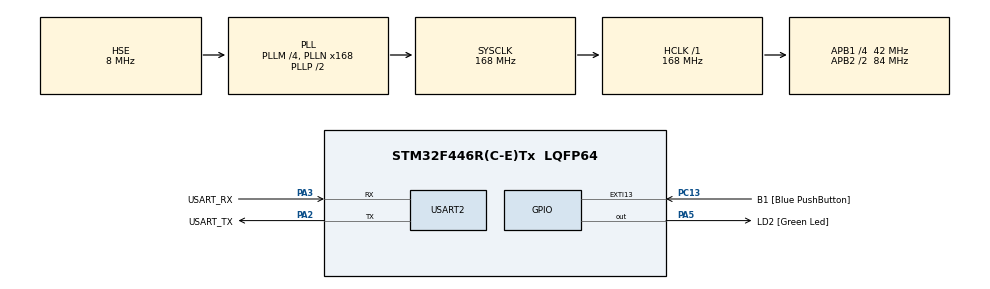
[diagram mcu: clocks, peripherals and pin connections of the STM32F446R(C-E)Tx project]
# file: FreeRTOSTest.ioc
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FREERTOS.Queues01=uartRxQueue,128,uint8_t,0,Dynamic,NULL,NULL
FREERTOS.Tasks01=defaultTask,0,128,StartDefaultTask,Default,NULL,Dynamic,NULL,NULL;ledTask,1,128,StartLedTask,Default,NULL,Dynamic,NULL,NULL
Mcu.Family=STM32F4
Mcu.Name=STM32F446R(C-E)Tx
Mcu.Package=LQFP64
NVIC.PriorityGroup=NVIC_PRIORITYGROUP_4
NVIC.TIM8_TRG_COM_TIM14_IRQn=true\:0\:0\:false\:false\:true\:false\:false
NVIC.TimeBase=TIM8_TRG_COM_TIM14_IRQn
NVIC.TimeBaseIP=TIM14
NVIC.USART2_IRQn=true\:5\:0\:false\:false\:true\:true\:true
PA13.GPIO_Label=TMS
PA13.Mode=Serial_Wire
PA13.Signal=SYS_JTMS-SWDIO
PA14.GPIO_Label=TCK
PA14.Mode=Serial_Wire
PA14.Signal=SYS_JTCK-SWCLK
PA2.GPIO_Label=USART_TX
PA2.Mode=Asynchronous
PA2.Signal=USART2_TX
PA3.GPIO_Label=USART_RX
PA3.Mode=Asynchronous
PA3.Signal=USART2_RX
PA5.GPIO_Label=LD2 [Green Led]
PA5.Signal=GPIO_Output
PB3.GPIO_Label=SWO
PB3.Signal=SYS_JTDO-SWO
PC13.GPIO_Label=B1 [Blue PushButton]
PC13.GPIO_ModeDefaultEXTI=GPIO_MODE_IT_FALLING
PC13.Signal=GPXTI13
PC14-OSC32_IN.Mode=LSE-External-Oscillator
PC14-OSC32_IN.Signal=RCC_OSC32_IN
PC15-OSC32_OUT.Mode=LSE-External-Oscillator
PC15-OSC32_OUT.Signal=RCC_OSC32_OUT
PH0-OSC_IN.Mode=HSE-External-Oscillator
PH0-OSC_IN.Signal=RCC_OSC_IN
PH1-OSC_OUT.Mode=HSE-External-Oscillator
PH1-OSC_OUT.Signal=RCC_OSC_OUT
ProjectManager.HeapSize=0x200
ProjectManager.StackSize=0x400
ProjectManager.TargetToolchain=MDK-ARM V5
RCC.48MHZClocksFreq_Value=84000000
RCC.AHBFreq_Value=168000000
RCC.APB1CLKDivider=RCC_HCLK_DIV4
RCC.APB1Freq_Value=42000000
RCC.APB1TimFreq_Value=84000000
RCC.APB2CLKDivider=RCC_HCLK_DIV2
RCC.APB2Freq_Value=84000000
RCC.APB2TimFreq_Value=168000000
RCC.CortexFreq_Value=168000000
RCC.FLatency-AdvancedSettings=FLASH_LATENCY_5
RCC.HCLKFreq_Value=168000000
RCC.HSE_VALUE=8000000
RCC.HSI_VALUE=16000000
RCC.PLLM=4
RCC.PLLN=168
RCC.PLLQ=3
RCC.PLLSourceVirtual=RCC_PLLSOURCE_HSE
RCC.SYSCLKFreq_VALUE=168000000
RCC.SYSCLKSource=RCC_SYSCLKSOURCE_PLLCLK
RCC.USBFreq_Value=112000000
RCC.VCOOutputFreq_Value=336000000
USART2.VirtualMode=VM_ASYNC
VP_FREERTOS_VS_ENABLE.Mode=Enabled
VP_SYS_VS_tim14.Mode=TIM14
board=NUCLEO-F446RE

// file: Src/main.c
/**
  ******************************************************************************
  * @file           : main.c
  * @brief          : Main program body
  ******************************************************************************
  * This notice applies to any and all portions of this file
  * that are not between comment pairs USER CODE BEGIN and
  * USER CODE END. Other portions of this file, whether
  * inserted by the user or by software development tools
  * are owned by their respective copyright owners.
  *
  * Copyright (c) 2018 STMicroelectronics International N.V.
  * All rights reserved.
  *
  * Redistribution and use in source and binary forms, with or without
  * modification, are permitted, provided that the following conditions are met:
  *
  * 1. Redistribution of source code must retain the above copyright notice,
  *    this list of conditions and the following disclaimer.
  * 2. Redistributions in binary form must reproduce the above copyright notice,
  *    this list of conditions and the following disclaimer in the documentation
  *    and/or other materials provided with the distribution.
  * 3. Neither the name of STMicroelectronics nor the names of other
  *    contributors to this software may be used to endorse or promote products
  *    derived from this software without specific written permission.
  * 4. This software, including modifications and/or derivative works of this
  *    software, must execute solely and exclusively on microcontroller or
  *    microprocessor devices manufactured by or for STMicroelectronics.
  * 5. Redistribution and use of this software other than as permitted under
  *    this license is void and will automatically terminate your rights under
  *    this license.
  *
  * THIS SOFTWARE IS PROVIDED BY STMICROELECTRONICS AND CONTRIBUTORS "AS IS"
  * AND ANY EXPRESS, IMPLIED OR STATUTORY WARRANTIES, INCLUDING, BUT NOT
  * LIMITED TO, THE IMPLIED WARRANTIES OF MERCHANTABILITY, FITNESS FOR A
  * PARTICULAR PURPOSE AND NON-INFRINGEMENT OF THIRD PARTY INTELLECTUAL PROPERTY
  * RIGHTS ARE DISCLAIMED TO THE FULLEST EXTENT PERMITTED BY LAW. IN NO EVENT
  * SHALL STMICROELECTRONICS OR CONTRIBUTORS BE LIABLE FOR ANY DIRECT, INDIRECT,
  * INCIDENTAL, SPECIAL, EXEMPLARY, OR CONSEQUENTIAL DAMAGES (INCLUDING, BUT NOT
  * LIMITED TO, PROCUREMENT OF SUBSTITUTE GOODS OR SERVICES; LOSS OF USE, DATA,
  * OR PROFITS; OR BUSINESS INTERRUPTION) HOWEVER CAUSED AND ON ANY THEORY OF
  * LIABILITY, WHETHER IN CONTRACT, STRICT LIABILITY, OR TORT (INCLUDING
  * NEGLIGENCE OR OTHERWISE) ARISING IN ANY WAY OUT OF THE USE OF THIS SOFTWARE,
  * EVEN IF ADVISED OF THE POSSIBILITY OF SUCH DAMAGE.
  *
  ******************************************************************************
  */
#include "main.h"
#include "stm32f4xx_hal.h"
#include "cmsis_os.h"

UART_HandleTypeDef huart2;

osThreadId defaultTaskHandle;
osThreadId ledTaskHandle;
osMessageQId uartRxQueueHandle;

/* USER CODE BEGIN PV */
/* Private variables ---------------------------------------------------------*/
// UART受信データ
uint8_t g_UartRxData = 0x00;
/* USER CODE END PV */

void SystemClock_Config(void);
static void MX_GPIO_Init(void);
static void MX_USART2_UART_Init(void);
void StartDefaultTask(void const * argument);
void StartLedTask(void const * argument);

/* USER CODE BEGIN PFP */
/* Private function prototypes -----------------------------------------------*/

/* USER CODE END PFP */

/* USER CODE BEGIN 0 */
#ifdef __GNUC__
#define PUTCHAR_PROTOTYPE int __io_putchar(int ch)
#else
#define PUTCHAR_PROTOTYPE int fputc(int ch, FILE *f)
#endif /* __GNUC__ */
PUTCHAR_PROTOTYPE
{
  /* Place your implementation of fputc here */
  /* e.g. write a character to the USART1 and Loop until the end of transmission */
  HAL_UART_Transmit(&huart2, (uint8_t *)&ch, 1, 0xFFFF);

  return ch;
}
/* USER CODE END 0 */

int main(void)
{

  /* MCU Configuration----------------------------------------------------------*/

  /* Reset of all peripherals, Initializes the Flash interface and the Systick. */
  HAL_Init();

  /* Configure the system clock */
  SystemClock_Config();

  /* Initialize all configured peripherals */
  MX_GPIO_Init();
  MX_USART2_UART_Init();

  /* Create the thread(s) */
  /* definition and creation of defaultTask */
  osThreadDef(defaultTask, StartDefaultTask, osPriorityNormal, 0, 128);
  defaultTaskHandle = osThreadCreate(osThread(defaultTask), NULL);

  /* definition and creation of ledTask */
  osThreadDef(ledTask, StartLedTask, osPriorityAboveNormal, 0, 128);
  ledTaskHandle = osThreadCreate(osThread(ledTask), NULL);

  /* Create the queue(s) */
  /* definition and creation of uartRxQueue */
/* what about the sizeof here??? cd native code */
  osMessageQDef(uartRxQueue, 128, uint8_t);
  uartRxQueueHandle = osMessageCreate(osMessageQ(uartRxQueue), NULL);

  /* Start scheduler */
  osKernelStart();

  /* We should never get here as control is now taken by the scheduler */

  /* Infinite loop */
  while (1)
  {

  }

}

void SystemClock_Config(void)
{

  RCC_OscInitTypeDef RCC_OscInitStruct;
  RCC_ClkInitTypeDef RCC_ClkInitStruct;

    /**Configure the main internal regulator output voltage
    */
  __HAL_RCC_PWR_CLK_ENABLE();

  __HAL_PWR_VOLTAGESCALING_CONFIG(PWR_REGULATOR_VOLTAGE_SCALE1);

    /**Initializes the CPU, AHB and APB busses clocks
    */
  RCC_OscInitStruct.OscillatorType = RCC_OSCILLATORTYPE_HSE;
  RCC_OscInitStruct.HSEState = RCC_HSE_ON;
  RCC_OscInitStruct.PLL.PLLState = RCC_PLL_ON;
  RCC_OscInitStruct.PLL.PLLSource = RCC_PLLSOURCE_HSE;
  RCC_OscInitStruct.PLL.PLLM = 4;
  RCC_OscInitStruct.PLL.PLLN = 168;
  RCC_OscInitStruct.PLL.PLLP = RCC_PLLP_DIV2;
  RCC_OscInitStruct.PLL.PLLQ = 3;
  RCC_OscInitStruct.PLL.PLLR = 2;
  if (HAL_RCC_OscConfig(&RCC_OscInitStruct) != HAL_OK)
  {
    _Error_Handler(__FILE__, __LINE__);
  }

    /**Initializes the CPU, AHB and APB busses clocks
    */
  RCC_ClkInitStruct.ClockType = RCC_CLOCKTYPE_HCLK|RCC_CLOCKTYPE_SYSCLK
                              |RCC_CLOCKTYPE_PCLK1|RCC_CLOCKTYPE_PCLK2;
  RCC_ClkInitStruct.SYSCLKSource = RCC_SYSCLKSOURCE_PLLCLK;
  RCC_ClkInitStruct.AHBCLKDivider = RCC_SYSCLK_DIV1;
  RCC_ClkInitStruct.APB1CLKDivider = RCC_HCLK_DIV4;
  RCC_ClkInitStruct.APB2CLKDivider = RCC_HCLK_DIV2;

  if (HAL_RCC_ClockConfig(&RCC_ClkInitStruct, FLASH_LATENCY_5) != HAL_OK)
  {
    _Error_Handler(__FILE__, __LINE__);
  }

    /**Configure the Systick interrupt time
    */
  HAL_SYSTICK_Config(HAL_RCC_GetHCLKFreq()/1000);

    /**Configure the Systick
    */
  HAL_SYSTICK_CLKSourceConfig(SYSTICK_CLKSOURCE_HCLK);

  /* SysTick_IRQn interrupt configuration */
  HAL_NVIC_SetPriority(SysTick_IRQn, 15, 0);
}

/* USART2 init function */
static void MX_USART2_UART_Init(void)
{

  huart2.Instance = USART2;
  huart2.Init.BaudRate = 115200;
  huart2.Init.WordLength = UART_WORDLENGTH_8B;
  huart2.Init.StopBits = UART_STOPBITS_1;
  huart2.Init.Parity = UART_PARITY_NONE;
  huart2.Init.Mode = UART_MODE_TX_RX;
  huart2.Init.HwFlowCtl = UART_HWCONTROL_NONE;
  huart2.Init.OverSampling = UART_OVERSAMPLING_16;
  if (HAL_UART_Init(&huart2) != HAL_OK)
  {
    _Error_Handler(__FILE__, __LINE__);
  }

}

/** Configure pins as
        * Analog
        * Input
        * Output
        * EVENT_OUT
        * EXTI
*/
static void MX_GPIO_Init(void)
{

  GPIO_InitTypeDef GPIO_InitStruct;

  /* GPIO Ports Clock Enable */
  __HAL_RCC_GPIOC_CLK_ENABLE();
  __HAL_RCC_GPIOH_CLK_ENABLE();
  __HAL_RCC_GPIOA_CLK_ENABLE();
  __HAL_RCC_GPIOB_CLK_ENABLE();

  /*Configure GPIO pin Output Level */
  HAL_GPIO_WritePin(LD2_GPIO_Port, LD2_Pin, GPIO_PIN_RESET);

  /*Configure GPIO pin : B1_Pin */
  GPIO_InitStruct.Pin = B1_Pin;
  GPIO_InitStruct.Mode = GPIO_MODE_IT_FALLING;
  GPIO_InitStruct.Pull = GPIO_NOPULL;
  HAL_GPIO_Init(B1_GPIO_Port, &GPIO_InitStruct);

  /*Configure GPIO pin : LD2_Pin */
  GPIO_InitStruct.Pin = LD2_Pin;
  GPIO_InitStruct.Mode = GPIO_MODE_OUTPUT_PP;
  GPIO_InitStruct.Pull = GPIO_NOPULL;
  GPIO_InitStruct.Speed = GPIO_SPEED_FREQ_LOW;
  HAL_GPIO_Init(LD2_GPIO_Port, &GPIO_InitStruct);

}

/* USER CODE BEGIN 4 */
void HAL_UART_RxCpltCallback(UART_HandleTypeDef *huart)
{
	if (huart->Instance == USART2) {
		uint8_t rxData = g_UartRxData;
		portBASE_TYPE xHigherPriorityTaskWoken = pdFALSE;
		// 1バイト単位受信の影響か、複数バイト一気に送信するとすぐハングする。
		// queue.hのサンプル見ると複数バイトまとめてをキューに移動するのが通常用途の可能性あり。
		xQueueSendFromISR(uartRxQueueHandle, &rxData, &xHigherPriorityTaskWoken);
		HAL_UART_Receive_IT(&huart2, &g_UartRxData, 1);
		portYIELD_FROM_ISR(xHigherPriorityTaskWoken);
	}
}

/* USER CODE END 4 */

/* StartDefaultTask function */
void StartDefaultTask(void const * argument)
{

  /* USER CODE BEGIN 5 */
	// UART受信開始(以降、UART受信割込みハンドラで継続)
	HAL_UART_Receive_IT(&huart2, &g_UartRxData, 1);
  /* Infinite loop */
  for(;;)
  {
	uint8_t rxData = 0;
	// 受信するまでスリープ
	if (xQueueReceive(uartRxQueueHandle, &rxData, portMAX_DELAY)) {
		printf("%c", rxData);
	}
  }
  /* USER CODE END 5 */
}

/* StartLedTask function */
void StartLedTask(void const * argument)
{
  /* USER CODE BEGIN StartLedTask */
  /* Infinite loop */
  for(;;)
  {
	HAL_GPIO_TogglePin(LD2_GPIO_Port, LD2_Pin);
	osDelay(500);
  }
  /* USER CODE END StartLedTask */
}

void HAL_TIM_PeriodElapsedCallback(TIM_HandleTypeDef *htim)
{
  if (htim->Instance == TIM14) {
    HAL_IncTick();
  }
}

void _Error_Handler(char *file, int line)
{
  while(1)
  {
  }
}

/************************ (C) COPYRIGHT STMicroelectronics *****END OF FILE****/
